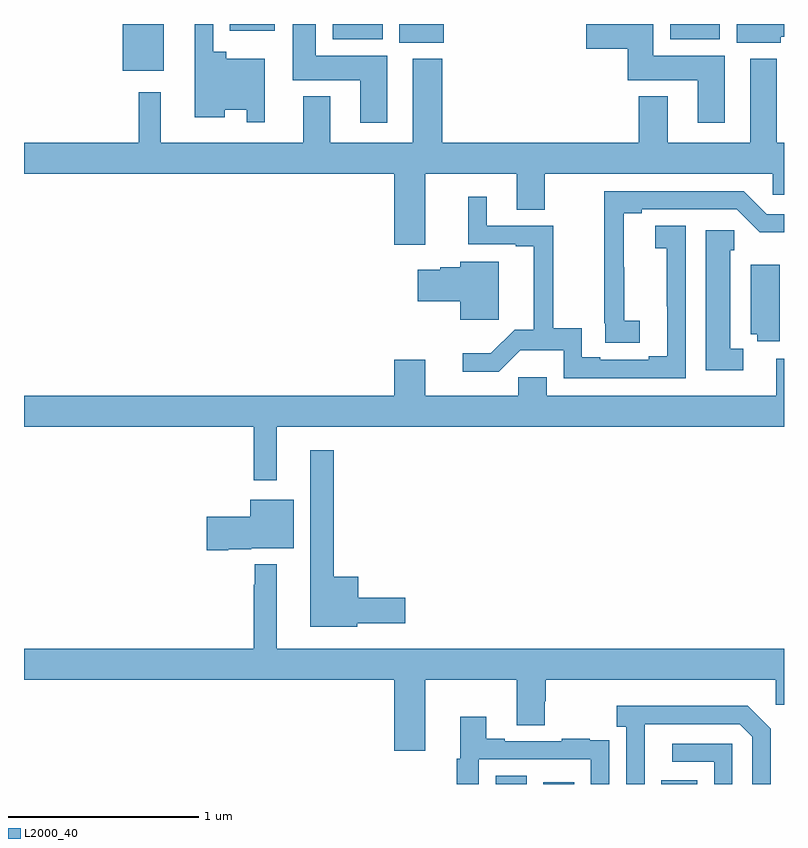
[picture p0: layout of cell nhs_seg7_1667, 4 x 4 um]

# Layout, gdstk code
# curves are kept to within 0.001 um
import gdstk
lib = gdstk.Library(unit=1e-6, precision=1e-09)
def R(c, l, rs):  # rectangles x0, y0, x1, y1
    for r in rs: c.add(gdstk.rectangle(r[:2], r[2:], *l))
def P(c, l, *ps):  # polygons
    for p in ps: c.add(gdstk.Polygon(p, *l))
L2000_40 = (2000, 40)

nhs_seg7_1667 = lib.new_cell('nhs_seg7_1667')
R(nhs_seg7_1667, L2000_40, [(225.482,1068,225.646,1068.044), (225.734,1068,225.895,1068.01), (226.355,1068,226.543,1068.019), (223.52,1071.755,223.735,1072), (224.975,1071.902,225.208,1072), (224.624,1071.92,224.887,1072), (226.4,1071.92,226.663,1072), (224.084,1071.965,224.32,1072)])
P(nhs_seg7_1667, L2000_40, [(226.687,1071.832),(226.312,1071.832),(226.312,1072),(225.96,1072),(225.96,1071.869),(226.178,1071.869),(226.178,1071.704),(226.547,1071.704),(226.547,1071.48),(226.687,1071.48)],
  [(226.984,1071.932),(227,1071.932),(227,1072),(226.751,1072),(226.751,1071.902),(226.984,1071.902)],
  [(224.268,1071.817),(224.064,1071.817),(224.064,1071.853),(223.995,1071.853),(223.995,1072),(223.898,1072),(223.898,1071.509),(224.056,1071.509),(224.056,1071.548),(224.172,1071.548),(224.172,1071.483),(224.268,1071.483)],
  [(224.911,1071.832),(224.536,1071.832),(224.536,1072),(224.414,1072),(224.414,1071.704),(224.771,1071.704),(224.771,1071.48),(224.911,1071.48)],
  [(225.593,1071.022),(225.741,1071.022),(225.741,1071.212),(226.941,1071.212),(226.941,1071.102),(227,1071.102),(227,1071.376),(226.963,1071.376),(226.963,1071.817),(226.823,1071.817),(226.823,1071.376),(226.387,1071.376),(226.387,1071.619),(226.235,1071.619),(226.235,1071.376),(225.2,1071.376),(225.2,1071.817),(225.047,1071.817),(225.047,1071.376),(224.611,1071.376),(224.611,1071.619),(224.471,1071.619),(224.471,1071.376),(223.72,1071.376),(223.72,1071.64),(223.603,1071.64),(223.603,1071.376),(223,1071.376),(223,1071.212),(224.948,1071.212),(224.948,1070.838),(225.112,1070.838),(225.112,1071.212),(225.593,1071.212)],
  [(226.24,1070.438),(226.158,1070.438),(226.156,1071.004),(226.252,1071.004),(226.252,1071.024),(226.752,1071.024),(226.873,1070.903),(227,1070.903),(227,1071),(226.908,1071),(226.788,1071.12),(226.054,1071.12),(226.054,1070.425),(226.06,1070.425),(226.06,1070.323),(226.24,1070.323)],
  [(226.482,1070.939),(226.323,1070.939),(226.323,1070.819),(226.384,1070.819),(226.385,1070.252),(226.289,1070.252),(226.289,1070.232),(226.033,1070.232),(226.033,1070.246),(225.936,1070.246),(225.936,1070.399),(225.785,1070.399),(225.785,1070.937),(225.436,1070.937),(225.436,1071.091),(225.337,1071.091),(225.337,1070.841),(225.587,1070.841),(225.587,1070.829),(225.683,1070.829),(225.683,1070.392),(225.583,1070.392),(225.457,1070.266),(225.309,1070.266),(225.309,1070.169),(225.498,1070.169),(225.611,1070.282),(225.84,1070.282),(225.84,1070.136),(226.482,1070.136)],
  [(226.786,1070.292),(226.717,1070.292),(226.717,1070.808),(226.739,1070.808),(226.739,1070.914),(226.589,1070.914),(226.589,1070.177),(226.786,1070.177)],
  [(225.499,1070.749),(225.296,1070.749),(225.296,1070.72),(225.192,1070.72),(225.192,1070.707),(225.072,1070.707),(225.072,1070.542),(225.296,1070.542),(225.296,1070.444),(225.499,1070.444)],
  [(226.978,1070.734),(226.826,1070.734),(226.826,1070.366),(226.858,1070.366),(226.858,1070.329),(226.978,1070.329)],
  [(224.329,1069.88),(227,1069.88),(227,1070.239),(226.958,1070.239),(226.958,1070.044),(225.751,1070.044),(225.751,1070.142),(225.6,1070.142),(225.6,1070.044),(225.112,1070.044),(225.112,1070.233),(224.948,1070.233),(224.948,1070.044),(223,1070.044),(223,1069.88),(224.208,1069.88),(224.208,1069.599),(224.329,1069.599)],
  [(224.754,1068.845),(225.007,1068.845),(225.007,1068.98),(224.758,1068.98),(224.758,1069.09),(224.629,1069.09),(224.629,1069.756),(224.507,1069.756),(224.507,1068.827),(224.754,1068.827)],
  [(224.074,1069.235),(224.196,1069.235),(224.196,1069.241),(224.419,1069.241),(224.419,1069.495),(224.192,1069.495),(224.192,1069.407),(223.962,1069.407),(223.962,1069.229),(224.074,1069.229)],
  [(225.112,1068.548),(225.593,1068.548),(225.593,1068.31),(225.741,1068.31),(225.741,1068.435),(225.746,1068.435),(225.746,1068.548),(226.956,1068.548),(226.956,1068.417),(227,1068.417),(227,1068.712),(224.329,1068.712),(224.329,1069.156),(224.215,1069.156),(224.215,1069.049),(224.208,1069.049),(224.208,1068.712),(223,1068.712),(223,1068.548),(224.948,1068.548),(224.948,1068.174),(225.112,1068.174)],
  [(226.266,1068.115),(226.267,1068.315),(226.767,1068.315),(226.833,1068.249),(226.833,1068),(226.929,1068),(226.929,1068.291),(226.808,1068.412),(226.119,1068.412),(226.119,1068.302),(226.17,1068.302),(226.17,1068),(226.266,1068)],
  [(225.393,1068.129),(225.984,1068.129),(225.984,1068),(226.08,1068),(226.08,1068.122),(226.079,1068.122),(226.079,1068.231),(225.977,1068.231),(225.977,1068.238),(225.829,1068.238),(225.829,1068.225),(225.529,1068.225),(225.529,1068.238),(225.433,1068.238),(225.433,1068.355),(225.296,1068.355),(225.296,1068.132),(225.277,1068.132),(225.277,1068),(225.393,1068)],
  [(226.728,1068.213),(226.413,1068.213),(226.413,1068.117),(226.632,1068.117),(226.632,1068),(226.728,1068)])

lib.write_gds('nhs_seg7_1667.gds')
